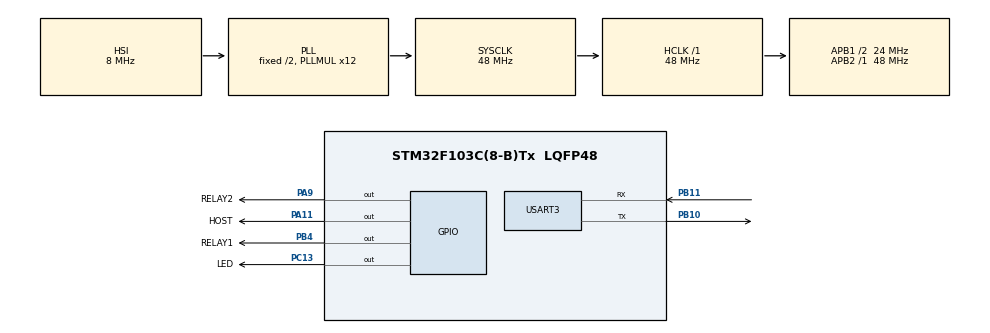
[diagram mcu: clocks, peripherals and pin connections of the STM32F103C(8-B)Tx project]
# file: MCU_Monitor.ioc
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IWDG.Prescaler=IWDG_PRESCALER_256
Mcu.Family=STM32F1
Mcu.Name=STM32F103C(8-B)Tx
Mcu.Package=LQFP48
NVIC.PriorityGroup=NVIC_PRIORITYGROUP_4
NVIC.USART3_IRQn=true\:0\:0\:false\:false\:true\:true\:true\:true
PA11.GPIO_Label=HOST
PA11.Signal=GPIO_Output
PA13.Mode=Serial_Wire
PA13.Signal=SYS_JTMS-SWDIO
PA14.Mode=Serial_Wire
PA14.Signal=SYS_JTCK-SWCLK
PA9.GPIO_Label=RELAY2
PA9.Signal=GPIO_Output
PB10.Mode=Asynchronous
PB10.Signal=USART3_TX
PB11.Mode=Asynchronous
PB11.Signal=USART3_RX
PB4.GPIO_Label=RELAY1
PB4.Signal=GPIO_Output
PC13-TAMPER-RTC.GPIO_Label=LED
PC13-TAMPER-RTC.Signal=GPIO_Output
PD0-OSC_IN.Mode=HSE-External-Oscillator
PD0-OSC_IN.Signal=RCC_OSC_IN
PD1-OSC_OUT.Mode=HSE-External-Oscillator
PD1-OSC_OUT.Signal=RCC_OSC_OUT
ProjectManager.HeapSize=0x200
ProjectManager.StackSize=0x400
ProjectManager.TargetToolchain=Makefile
RCC.AHBFreq_Value=48000000
RCC.APB1CLKDivider=RCC_HCLK_DIV2
RCC.APB1Freq_Value=24000000
RCC.APB1TimFreq_Value=48000000
RCC.APB2Freq_Value=48000000
RCC.APB2TimFreq_Value=48000000
RCC.HCLKFreq_Value=48000000
RCC.PLLMUL=RCC_PLL_MUL12
RCC.SYSCLKFreq_VALUE=48000000
RCC.SYSCLKSource=RCC_SYSCLKSOURCE_PLLCLK
RCC.USBFreq_Value=48000000
USART3.VirtualMode=VM_ASYNC
VP_IWDG_VS_IWDG.Mode=IWDG_Activate
board=custom

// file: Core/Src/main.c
/* USER CODE BEGIN Header */
/**
  ******************************************************************************
  * @file           : main.c
  * @brief          : Main program body
  ******************************************************************************
  * @attention
  *
  * Copyright (c) 2023 STMicroelectronics.
  * All rights reserved.
  *
  * This software is licensed under terms that can be found in the LICENSE file
  * in the root directory of this software component.
  * If no LICENSE file comes with this software, it is provided AS-IS.
  *
  ******************************************************************************
  */
/* USER CODE END Header */
#include "main.h"
#include "iwdg.h"
#include "usart.h"
#include "gpio.h"

/* USER CODE BEGIN Includes */
#include "board_hw.h"
#include "host_data_layer.h"
#include "app_debug.h"
#include "SEGGER_RTT.h"
#include "ota_update.h"
/* USER CODE END Includes */

void SystemClock_Config(void);

/* USER CODE BEGIN 0 */
static uint32_t rtt_debug_output(const void *data, uint32_t size)
{
    return SEGGER_RTT_Write(0, data, size);
}
/* USER CODE END 0 */

int main(void)
{

  /* MCU Configuration--------------------------------------------------------*/

  /* Reset of all peripherals, Initializes the Flash interface and the Systick. */
  HAL_Init();

  /* Configure the system clock */
  SystemClock_Config();

  /* USER CODE BEGIN SysInit */
  MX_IWDG_Init();
  /* USER CODE END SysInit */

  /* Initialize all configured peripherals */
  MX_GPIO_Init();
  MX_IWDG_Init();
  MX_USART3_UART_Init();
  /* USER CODE BEGIN 2 */

    app_debug_init(sys_get_ms, (void*)0);
    app_debug_register_callback_print(rtt_debug_output);
    app_debug_set_level(DEBUG_LEVEL_INFO);
    DEBUG_WARN("Build %s, %s, HW %s, FW %s\r\n",
            __DATE__, __TIME__, OTA_UPDATE_DEFAULT_HEADER_DATA_HARDWARE, OTA_UPDATE_FW_VERSION);
    board_hw_initialize();
   // app_debug_register_callback_print(lp_usart_put);
    host_data_layer_initialize();
  /* USER CODE END 2 */

  /* Infinite loop */
  while (1)
  {

    /* USER CODE BEGIN 3 */
      host_data_layer_polling_task((void*)0);
  }
  /* USER CODE END 3 */
}

void SystemClock_Config(void)
{
  RCC_OscInitTypeDef RCC_OscInitStruct = {0};
  RCC_ClkInitTypeDef RCC_ClkInitStruct = {0};

  /** Initializes the RCC Oscillators according to the specified parameters
  * in the RCC_OscInitTypeDef structure.
  */
  RCC_OscInitStruct.OscillatorType = RCC_OSCILLATORTYPE_HSI|RCC_OSCILLATORTYPE_LSI;
  RCC_OscInitStruct.HSIState = RCC_HSI_ON;
  RCC_OscInitStruct.HSICalibrationValue = RCC_HSICALIBRATION_DEFAULT;
  RCC_OscInitStruct.LSIState = RCC_LSI_ON;
  RCC_OscInitStruct.PLL.PLLState = RCC_PLL_ON;
  RCC_OscInitStruct.PLL.PLLSource = RCC_PLLSOURCE_HSI_DIV2;
  RCC_OscInitStruct.PLL.PLLMUL = RCC_PLL_MUL12;
  if (HAL_RCC_OscConfig(&RCC_OscInitStruct) != HAL_OK)
  {
    Error_Handler();
  }

  /** Initializes the CPU, AHB and APB buses clocks
  */
  RCC_ClkInitStruct.ClockType = RCC_CLOCKTYPE_HCLK|RCC_CLOCKTYPE_SYSCLK
                              |RCC_CLOCKTYPE_PCLK1|RCC_CLOCKTYPE_PCLK2;
  RCC_ClkInitStruct.SYSCLKSource = RCC_SYSCLKSOURCE_PLLCLK;
  RCC_ClkInitStruct.AHBCLKDivider = RCC_SYSCLK_DIV1;
  RCC_ClkInitStruct.APB1CLKDivider = RCC_HCLK_DIV2;
  RCC_ClkInitStruct.APB2CLKDivider = RCC_HCLK_DIV1;

  if (HAL_RCC_ClockConfig(&RCC_ClkInitStruct, FLASH_LATENCY_1) != HAL_OK)
  {
    Error_Handler();
  }
}

void Error_Handler(void)
{
  __disable_irq();
  while (1)
  {
  }
}
